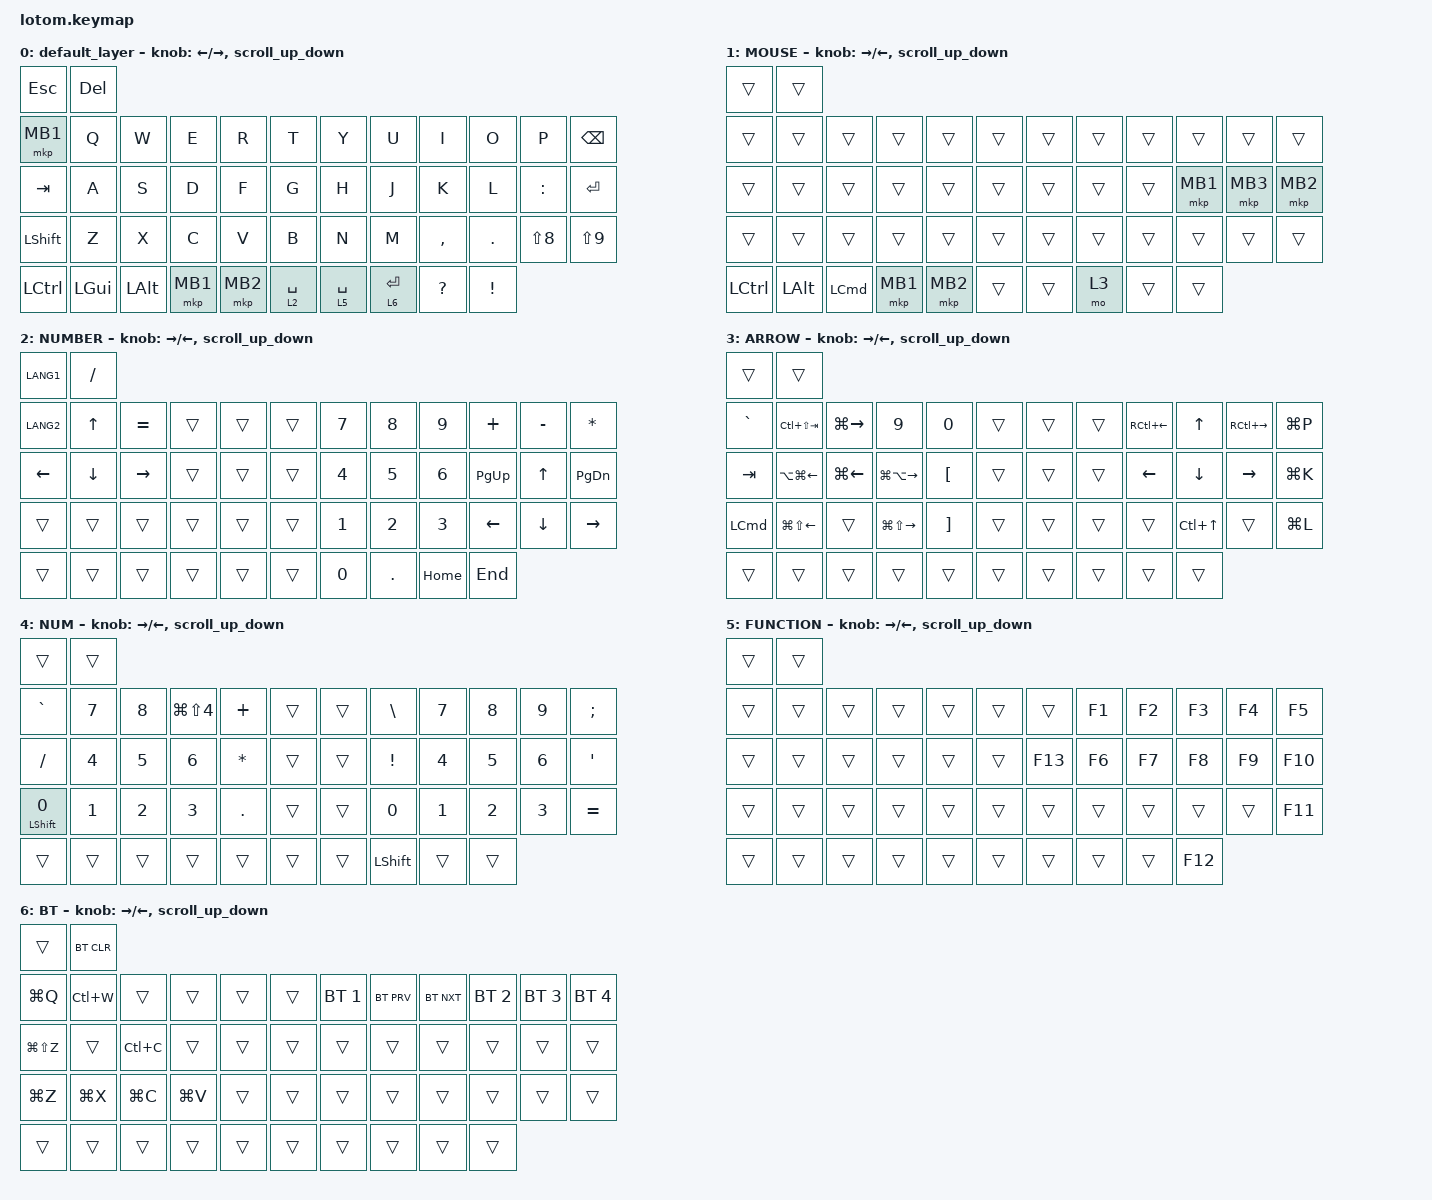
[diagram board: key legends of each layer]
#include <behaviors.dtsi>
#include <dt-bindings/zmk/bt.h>
#include <dt-bindings/zmk/keys.h>
#include <dt-bindings/zmk/pointing.h>

#define ZMK_POINTING_DEFAULT_SCRL_VAL 80

/ {
    behaviors {
        scroll_up_down: behavior_sensor_rotate_mouse_wheel_up_down {
            compatible = "zmk,behavior-sensor-rotate";
            label = "ENCODER_MSC_DOWN_UP";
            #sensor-binding-cells = <0>;
            bindings = <&msc SCRL_DOWN>, <&msc SCRL_UP>;

            tap-ms = <20>;
        };

        tab_slide: behavior_sensor_rotate_tab_slide {
            compatible = "zmk,behavior-sensor-rotate";
            label = "ENCODER_TAB_SLIDE";
            #sensor-binding-cells = <0>;
            bindings = <&kp LA(LG(RIGHT_ARROW))>, <&kp LA(LG(LEFT_ARROW))>;

            tap-ms = <20>;
        };
    };

    keymap {
        compatible = "zmk,keymap";

        default_layer {
            bindings = <
&kp ESCAPE      &kp DELETE
&mkp MB1        &kp Q         &kp W         &kp E     &kp R     &kp T        &kp Y        &kp U      &kp I         &kp O            &kp P       &kp BACKSPACE
&kp TAB         &kp A         &kp S         &kp D     &kp F     &kp G        &kp H        &kp J      &kp K         &kp L            &kp COLON   &kp RET
&kp LEFT_SHIFT  &kp Z         &kp X         &kp C     &kp V     &kp B        &kp N        &kp M      &kp COMMA     &kp PERIOD       &kp LS(N8)  &kp LS(N9)
&kp LCTRL       &kp LEFT_GUI  &kp LEFT_ALT  &mkp MB1  &mkp MB2  &lt 2 SPACE  &lt 5 SPACE  &lt 6 RET  &kp QUESTION  &kp EXCLAMATION
            >;

            sensor-bindings =
                <&inc_dec_kp LEFT_ARROW RIGHT_ARROW>,
                <&scroll_up_down>;
        };

        MOUSE {
            bindings = <
&trans     &trans
&trans     &trans        &trans            &trans    &trans    &trans  &trans  &trans  &trans  &trans    &trans    &trans
&trans     &trans        &trans            &trans    &trans    &trans  &trans  &trans  &trans  &mkp MB1  &mkp MB3  &mkp MB2
&trans     &trans        &trans            &trans    &trans    &trans  &trans  &trans  &trans  &trans    &trans    &trans
&kp LCTRL  &kp LEFT_ALT  &kp LEFT_COMMAND  &mkp MB1  &mkp MB2  &trans  &trans  &mo 3   &trans  &trans
            >;

            sensor-bindings = <
                &inc_dec_kp RIGHT_ARROW LEFT_ARROW
                &scroll_up_down
            >;
        };

        NUMBER {
            bindings = <
&kp LANG1       &kp SLASH
&kp LANG2       &kp UP_ARROW    &kp EQUAL        &trans  &trans  &trans  &kp N7        &kp N8        &kp N9        &kp PLUS        &kp MINUS       &kp ASTERISK
&kp LEFT_ARROW  &kp DOWN_ARROW  &kp RIGHT_ARROW  &trans  &trans  &trans  &kp NUMBER_4  &kp N5        &kp NUMBER_6  &kp PAGE_UP     &kp UP_ARROW    &kp PAGE_DOWN
&trans          &trans          &trans           &trans  &trans  &trans  &kp NUMBER_1  &kp NUMBER_2  &kp NUMBER_3  &kp LEFT_ARROW  &kp DOWN_ARROW  &kp RIGHT_ARROW
&trans          &trans          &trans           &trans  &trans  &trans  &kp N0        &kp DOT       &kp HOME      &kp END
            >;

            sensor-bindings = <
                &inc_dec_kp RIGHT_ARROW LEFT_ARROW
                &scroll_up_down
            >;
        };

        ARROW {
            bindings = <
&trans     &trans
&kp GRAVE  &kp LC(LS(TAB))         &kp LG(RIGHT)  &kp NUMBER_9             &kp NUMBER_0       &trans  &trans  &trans  &kp RC(LEFT_ARROW)  &kp UP_ARROW      &kp RC(RIGHT_ARROW)  &kp LG(P)
&kp TAB    &kp LA(LG(LEFT_ARROW))  &kp LG(LEFT)   &kp LG(LA(RIGHT_ARROW))  &kp LEFT_BRACKET   &trans  &trans  &trans  &kp LEFT_ARROW      &kp DOWN_ARROW    &kp RIGHT_ARROW      &kp LG(K)
&kp LCMD   &kp LG(LS(LEFT_ARROW))  &trans         &kp LG(LS(RIGHT_ARROW))  &kp RIGHT_BRACKET  &trans  &trans  &trans  &trans              &kp LC(UP_ARROW)  &trans               &kp LG(L)
&trans     &trans                  &trans         &trans                   &trans             &trans  &trans  &trans  &trans              &trans
            >;

            sensor-bindings = <
                &inc_dec_kp RIGHT_ARROW LEFT_ARROW
                &scroll_up_down
            >;
        };

        NUM {
            bindings = <
&trans                   &trans
&kp GRAVE                &kp NUMBER_7  &kp NUMBER_8  &kp LG(LS(NUMBER_4))  &kp PLUS      &trans  &trans  &kp BACKSLASH    &kp NUMBER_7  &kp NUMBER_8  &kp NUMBER_9  &kp SEMICOLON
&kp SLASH                &kp NUMBER_4  &kp NUMBER_5  &kp NUMBER_6          &kp ASTERISK  &trans  &trans  &kp EXCLAMATION  &kp NUMBER_4  &kp NUMBER_5  &kp NUMBER_6  &kp SQT
&mt LEFT_SHIFT NUMBER_0  &kp NUMBER_1  &kp NUMBER_2  &kp NUMBER_3          &kp PERIOD    &trans  &trans  &kp NUMBER_0     &kp NUMBER_1  &kp NUMBER_2  &kp NUMBER_3  &kp EQUAL
&trans                   &trans        &trans        &trans                &trans        &trans  &trans  &kp LEFT_SHIFT   &trans        &trans
            >;

            sensor-bindings = <
                &inc_dec_kp RIGHT_ARROW LEFT_ARROW
                &scroll_up_down
            >;
        };

        FUNCTION {
            bindings = <
&trans  &trans
&trans  &trans  &trans  &trans  &trans  &trans  &trans   &kp F1  &kp F2  &kp F3   &kp F4  &kp F5
&trans  &trans  &trans  &trans  &trans  &trans  &kp F13  &kp F6  &kp F7  &kp F8   &kp F9  &kp F10
&trans  &trans  &trans  &trans  &trans  &trans  &trans   &trans  &trans  &trans   &trans  &kp F11
&trans  &trans  &trans  &trans  &trans  &trans  &trans   &trans  &trans  &kp F12
            >;

            sensor-bindings = <
                &inc_dec_kp RIGHT_ARROW LEFT_ARROW
                &scroll_up_down
            >;
        };

        BT {
            bindings = <
&trans         &bt BT_CLR
&kp LG(Q)      &kp LC(W)   &trans     &trans     &trans  &trans  &bt BT_SEL 1  &bt BT_PRV  &bt BT_NXT  &bt BT_SEL 2  &bt BT_SEL 3  &bt BT_SEL 4
&kp LG(LS(Z))  &trans      &kp LC(C)  &trans     &trans  &trans  &trans        &trans      &trans      &trans        &trans        &trans
&kp LG(Z)      &kp LG(X)   &kp LG(C)  &kp LG(V)  &trans  &trans  &trans        &trans      &trans      &trans        &trans        &trans
&trans         &trans      &trans     &trans     &trans  &trans  &trans        &trans      &trans      &trans
            >;

            sensor-bindings = <
                &inc_dec_kp RIGHT_ARROW LEFT_ARROW
                &scroll_up_down
            >;
        };
    };
};
